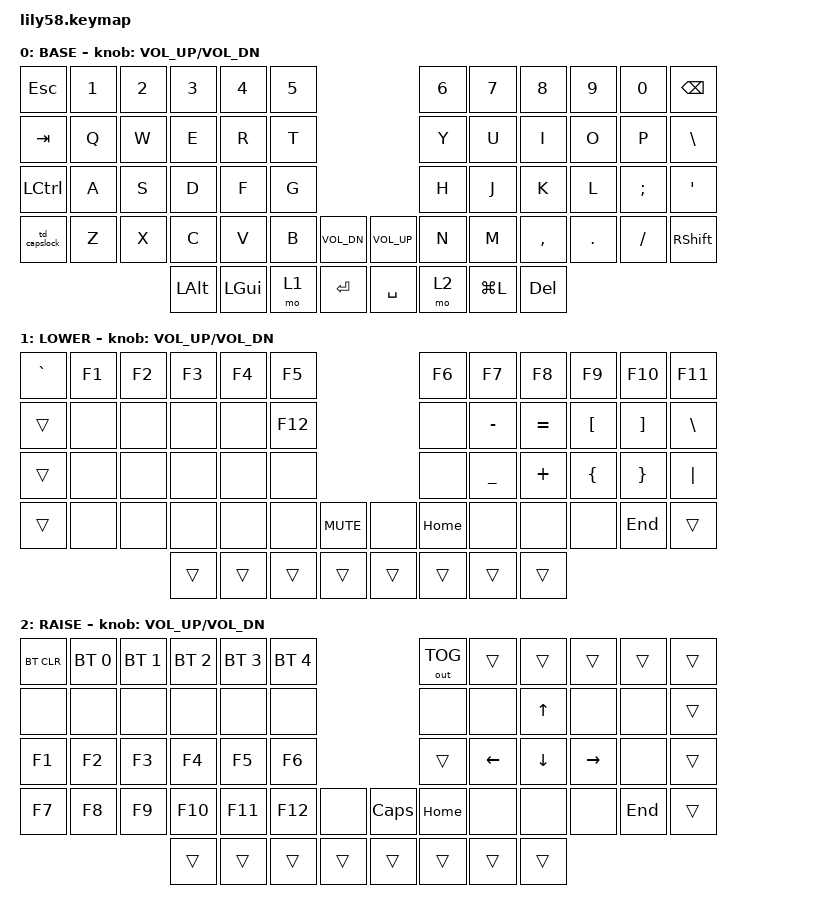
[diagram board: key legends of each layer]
/*
 * Copyright (c) 2020 The ZMK Contributors
 *
 * SPDX-License-Identifier: MIT
 */

#include <behaviors.dtsi>
#include <dt-bindings/zmk/bt.h>
#include <dt-bindings/zmk/keys.h>
#include <dt-bindings/zmk/outputs.h>

/ {
    behaviors {
        td_capslock: tap_dance_capslock {
            compatible = "zmk,behavior-tap-dance";
            #binding-cells = <0>;
            tapping-term-ms = <200>;
            bindings = <&kp LSHFT>, <&kp CAPSLOCK>, <&kp LSHFT>;
        };
    };

    keymap {
        compatible = "zmk,keymap";

        default_layer {
            // ------------------------------------------------------------------------------------------------------------
            // |  ESC  |  1  |  2  |  3   |  4   |  5   |                               |  6   |  7    |  8    |  9   |   0   |  BSPC |
            // |  TAB  |  Q  |  W  |  E   |  R   |  T   |                               |  Y   |  U    |  I    |  O   |   P   |   \   |
            // |  CTRL |  A  |  S  |  D   |  F   |  G   |                               |  H   |  J    |  K    |  L   |   ;   |   '   |
            // | SHIFT |  Z  |  X  |  C   |  V   |  B   |   "Vol Up"  |  |  "Vol Down"  |  N   |  M    |  ,    |  .   |   /   | SHIFT |
            //                     | ALT  | GUI  | LOWER|  SPACE |  | ENTER | RAISE| LOCK  | DEL   |

            display-name = "BASE";
            bindings = <
&kp ESC       &kp N1  &kp N2  &kp N3    &kp N4    &kp N5                                &kp N6  &kp N7     &kp N8     &kp N9   &kp N0    &kp BSPC
&kp TAB       &kp Q   &kp W   &kp E     &kp R     &kp T                                 &kp Y   &kp U      &kp I      &kp O    &kp P     &kp BSLH
&kp LCTRL     &kp A   &kp S   &kp D     &kp F     &kp G                                 &kp H   &kp J      &kp K      &kp L    &kp SEMI  &kp SQT
&td_capslock  &kp Z   &kp X   &kp C     &kp V     &kp B   &kp C_VOL_DN    &kp C_VOL_UP  &kp N   &kp M      &kp COMMA  &kp DOT  &kp FSLH  &kp RSHFT
                              &kp LALT  &kp LGUI  &mo 1   &kp RET         &kp SPACE     &mo 2   &kp LG(L)  &kp DEL
            >;

            sensor-bindings = <&inc_dec_kp C_VOL_UP C_VOL_DN>;
        };

        lower_layer {
            // ------------------------------------------------------------------------------------------------------------
            // | `~    |  F1 | F2  |  F3  |  F4  |  F5  |                   |  F6  | F7  |  F8 |  F9  |  F10  |  F11  |
            // |       |     |     |      |      |  F12 |                   |      |  -  |  =  |   [  |   ]   |   \   |
            // |       |     |     |      |      |      |                   |      |  _  |  +  |   {  |   }   |   |   |
            // |       |     |     |      |      |      |  MUTE  |  |       | HOME |     |     |      |  END  |       |
            //                     |      |      |      |        |  |       |      |     |     |

            display-name = "LOWER";
            bindings = <
&kp GRAVE  &kp F1  &kp F2  &kp F3  &kp F4  &kp F5                         &kp F6    &kp F7     &kp F8     &kp F9    &kp F10   &kp F11
&trans     &none   &none   &none   &none   &kp F12                        &none     &kp MINUS  &kp EQUAL  &kp LBKT  &kp RBKT  &kp BSLH
&trans     &none   &none   &none   &none   &none                          &none     &kp UNDER  &kp PLUS   &kp LBRC  &kp RBRC  &kp PIPE
&trans     &none   &none   &none   &none   &none    &kp C_MUTE    &none   &kp HOME  &none      &none      &none     &kp END   &trans
                           &trans  &trans  &trans   &trans        &trans  &trans    &trans     &trans
            >;

            sensor-bindings = <&inc_dec_kp C_VOL_UP C_VOL_DN>;
        };

        raise_layer {
            // ------------------------------------------------------------------------------------------------------------
            // |BTCLR | BT1  | BT2  |  BT3  |  BT4  |  BT5 |                |USB/BLE|      |       |      |       |       |
            // |   `   |  1  |  2  |  3   |  4   |  5   |                   |   6   |   7  |   8   |  9   |   0   |       |
            // |   F1  |  F2 |  F3 |  F4  |  F5  |  F6  |                   |       |  <-  |   v   |  ^   |  ->   |       |
            // |   F7  |  F8 |  F9 |  F10 |  F11 |  F12 |        |  |       |  CAPS |      |       |      |       |       |
            //                     |      |      |      |        |  |       |       |      |       |

            display-name = "RAISE";
            bindings = <
&bt BT_CLR  &bt BT_SEL 0  &bt BT_SEL 1  &bt BT_SEL 2  &bt BT_SEL 3  &bt BT_SEL 4                      &out OUT_TOG  &trans    &trans    &trans     &trans   &trans
&none       &none         &none         &none         &none         &none                             &none         &none     &kp UP    &none      &none    &trans
&kp F1      &kp F2        &kp F3        &kp F4        &kp F5        &kp F6                            &trans        &kp LEFT  &kp DOWN  &kp RIGHT  &none    &trans
&kp F7      &kp F8        &kp F9        &kp F10       &kp F11       &kp F12       &none     &kp CLCK  &kp HOME      &none     &none     &none      &kp END  &trans
                                        &trans        &trans        &trans        &trans    &trans    &trans        &trans    &trans
            >;

            sensor-bindings = <&inc_dec_kp C_VOL_UP C_VOL_DN>;
        };

        extra_1 { status = "reserved"; };

        extra_2 { status = "reserved"; };

        extra_3 { status = "reserved"; };
    };
};
